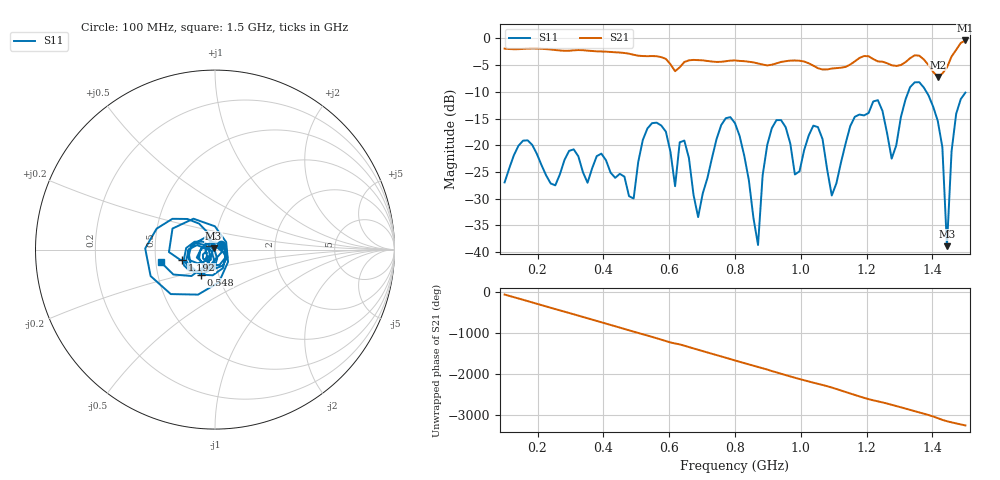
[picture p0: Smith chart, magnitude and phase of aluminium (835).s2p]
! NanoVNA-App
! Date: 2025-09-25 15:01:47
! Start: 100MHz Stop: 1,5GHz Points: 101
! S-Parameter data: F S11 S21 S12 S22
# Hz S RI R 50
!  Frequency  S11_Real  S11_Imag  S21_Real  S21_Imag  S12_Real  S12_Imag  S22_Real  S22_Imag
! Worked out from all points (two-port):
!   101 points, 100 MHz to 1.5 GHz, reference 50 ohm
!   highest |S21| = -0.39 dB at 1.5 GHz (marker M1); lowest = -7.2 dB at 1.416 GHz (marker M2)
!   |S21| within 3 dB of the highest: start of sweep to 566 MHz; 1.458 GHz to end of sweep (the widest 2 of 4)
!   lowest |S11| = -38.9 dB at 1.444 GHz (marker M3), VSWR 1.02, Z = 49.2 + j0.795 ohm
!   |S11| at or under -10 dB: start of sweep to 1.327 GHz; 1.381 GHz to end of sweep
!   S12 and S22 are empty: the file has one direction only
!   S11 on the Smith chart (normalised r, x): 100 MHz: 1.07, +0.06; 548 MHz: 0.82, -0.23; 1.192 GHz: 0.69, -0.08; 1.5 GHz: 0.53, -0.08
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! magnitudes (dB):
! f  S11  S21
! 100 MHz  -27.0  -1.9
! 156 MHz  -19.1  -2.0
! 338 MHz  -25.1  -2.2
! 492 MHz  -30.0  -3.1
! 548 MHz  -15.9  -3.3
! 576 MHz  -16.3  -3.5
! 618 MHz  -27.7  -6.1
! 646 MHz  -19.1  -4.4
! 688 MHz  -33.4  -4.1
! 800 MHz  -15.9  -4.1
! 870 MHz  -38.7  -4.7
! 912 MHz  -16.8  -4.9
! 982 MHz  -25.5  -4.1
! 1.038 GHz  -16.3  -5.1
! 1.094 GHz  -29.4  -5.6
! 1.192 GHz  -14.4  -3.3
! 1.276 GHz  -22.5  -5.0
! 1.346 GHz  -8.2  -3.2
! 1.416 GHz  -15.4  -7.2
! 1.444 GHz  -38.9  -5.4
! 1.458 GHz  -21.1  -3.4
! 1.5 GHz  -10.2  -0.4
